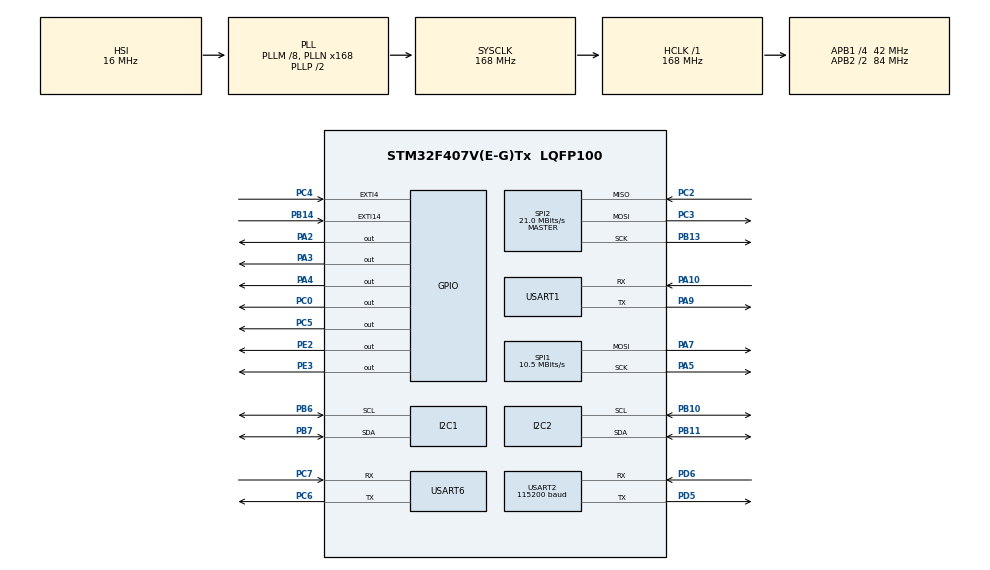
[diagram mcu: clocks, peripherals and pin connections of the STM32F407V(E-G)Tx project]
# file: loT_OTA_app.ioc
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Dma.I2C1_RX.1.Direction=DMA_PERIPH_TO_MEMORY
Dma.I2C1_RX.1.FIFOMode=DMA_FIFOMODE_DISABLE
Dma.I2C1_RX.1.Instance=DMA1_Stream0
Dma.I2C1_RX.1.MemDataAlignment=DMA_MDATAALIGN_BYTE
Dma.I2C1_RX.1.MemInc=DMA_MINC_ENABLE
Dma.I2C1_RX.1.Mode=DMA_NORMAL
Dma.I2C1_RX.1.PeriphDataAlignment=DMA_PDATAALIGN_BYTE
Dma.I2C1_RX.1.PeriphInc=DMA_PINC_DISABLE
Dma.I2C1_RX.1.Priority=DMA_PRIORITY_LOW
Dma.I2C1_TX.2.Direction=DMA_MEMORY_TO_PERIPH
Dma.I2C1_TX.2.FIFOMode=DMA_FIFOMODE_DISABLE
Dma.I2C1_TX.2.Instance=DMA1_Stream7
Dma.I2C1_TX.2.MemDataAlignment=DMA_MDATAALIGN_BYTE
Dma.I2C1_TX.2.MemInc=DMA_MINC_ENABLE
Dma.I2C1_TX.2.Mode=DMA_NORMAL
Dma.I2C1_TX.2.PeriphDataAlignment=DMA_PDATAALIGN_BYTE
Dma.I2C1_TX.2.PeriphInc=DMA_PINC_DISABLE
Dma.I2C1_TX.2.Priority=DMA_PRIORITY_LOW
Dma.Request0=SPI1_TX
Dma.Request1=I2C1_RX
Dma.Request2=I2C1_TX
Dma.Request3=USART6_TX
Dma.Request4=USART2_TX
Dma.Request5=USART2_RX
Dma.SPI1_TX.0.Direction=DMA_MEMORY_TO_PERIPH
Dma.SPI1_TX.0.FIFOMode=DMA_FIFOMODE_DISABLE
Dma.SPI1_TX.0.Instance=DMA2_Stream3
Dma.SPI1_TX.0.MemDataAlignment=DMA_MDATAALIGN_BYTE
Dma.SPI1_TX.0.MemInc=DMA_MINC_ENABLE
Dma.SPI1_TX.0.Mode=DMA_NORMAL
Dma.SPI1_TX.0.PeriphDataAlignment=DMA_PDATAALIGN_BYTE
Dma.SPI1_TX.0.PeriphInc=DMA_PINC_DISABLE
Dma.SPI1_TX.0.Priority=DMA_PRIORITY_LOW
Dma.USART2_RX.5.Direction=DMA_PERIPH_TO_MEMORY
Dma.USART2_RX.5.FIFOMode=DMA_FIFOMODE_DISABLE
Dma.USART2_RX.5.Instance=DMA1_Stream5
Dma.USART2_RX.5.MemDataAlignment=DMA_MDATAALIGN_BYTE
Dma.USART2_RX.5.MemInc=DMA_MINC_ENABLE
Dma.USART2_RX.5.Mode=DMA_CIRCULAR
Dma.USART2_RX.5.PeriphDataAlignment=DMA_PDATAALIGN_BYTE
Dma.USART2_RX.5.PeriphInc=DMA_PINC_DISABLE
Dma.USART2_RX.5.Priority=DMA_PRIORITY_LOW
Dma.USART2_TX.4.Direction=DMA_MEMORY_TO_PERIPH
Dma.USART2_TX.4.FIFOMode=DMA_FIFOMODE_DISABLE
Dma.USART2_TX.4.Instance=DMA1_Stream6
Dma.USART2_TX.4.MemDataAlignment=DMA_MDATAALIGN_BYTE
Dma.USART2_TX.4.MemInc=DMA_MINC_ENABLE
Dma.USART2_TX.4.Mode=DMA_NORMAL
Dma.USART2_TX.4.PeriphDataAlignment=DMA_PDATAALIGN_BYTE
Dma.USART2_TX.4.PeriphInc=DMA_PINC_DISABLE
Dma.USART2_TX.4.Priority=DMA_PRIORITY_LOW
Dma.USART6_TX.3.Direction=DMA_MEMORY_TO_PERIPH
Dma.USART6_TX.3.FIFOMode=DMA_FIFOMODE_DISABLE
Dma.USART6_TX.3.Instance=DMA2_Stream6
Dma.USART6_TX.3.MemDataAlignment=DMA_MDATAALIGN_BYTE
Dma.USART6_TX.3.MemInc=DMA_MINC_ENABLE
Dma.USART6_TX.3.Mode=DMA_NORMAL
Dma.USART6_TX.3.PeriphDataAlignment=DMA_PDATAALIGN_BYTE
Dma.USART6_TX.3.PeriphInc=DMA_PINC_DISABLE
Dma.USART6_TX.3.Priority=DMA_PRIORITY_LOW
FREERTOS.Tasks01=defaultTask,24,128,StartDefaultTask,Default,NULL,Dynamic,NULL,NULL
FREERTOS.configTOTAL_HEAP_SIZE=50720
FREERTOS.configUSE_PREEMPTION=1
I2C2.I2C_Mode=I2C_Standard
IWDG.Prescaler=IWDG_PRESCALER_256
IWDG.Reload=1250
Mcu.Family=STM32F4
Mcu.Name=STM32F407V(E-G)Tx
Mcu.Package=LQFP100
NVIC.DMA1_Stream0_IRQn=true\:5\:0\:false\:false\:true\:true\:false\:true\:true
NVIC.DMA1_Stream5_IRQn=true\:5\:0\:false\:false\:true\:true\:false\:true\:true
NVIC.DMA1_Stream6_IRQn=true\:5\:0\:false\:false\:true\:true\:false\:true\:true
NVIC.DMA1_Stream7_IRQn=true\:5\:0\:false\:false\:true\:false\:false\:true\:true
NVIC.DMA2_Stream3_IRQn=true\:5\:0\:false\:false\:true\:true\:false\:true\:true
NVIC.DMA2_Stream6_IRQn=true\:5\:0\:false\:false\:true\:true\:false\:true\:true
NVIC.EXTI15_10_IRQn=true\:5\:0\:true\:false\:true\:true\:true\:true\:true
NVIC.EXTI4_IRQn=true\:5\:0\:false\:false\:true\:true\:true\:true\:true
NVIC.I2C1_ER_IRQn=true\:5\:0\:false\:false\:true\:true\:true\:true\:true
NVIC.I2C1_EV_IRQn=true\:5\:0\:false\:false\:true\:true\:true\:true\:true
NVIC.PriorityGroup=NVIC_PRIORITYGROUP_4
NVIC.SPI1_IRQn=true\:5\:0\:false\:false\:true\:true\:true\:true\:true
NVIC.SPI2_IRQn=true\:5\:0\:false\:false\:true\:true\:true\:true\:true
NVIC.TIM6_DAC_IRQn=true\:5\:0\:true\:false\:true\:true\:true\:true\:true
NVIC.TIM7_IRQn=true\:0\:0\:false\:false\:true\:false\:true\:true\:true
NVIC.TimeBase=TIM7_IRQn
NVIC.TimeBaseIP=TIM7
NVIC.USART1_IRQn=true\:5\:0\:true\:false\:true\:true\:true\:true\:true
NVIC.USART2_IRQn=true\:5\:0\:false\:false\:true\:true\:true\:true\:true
NVIC.USART6_IRQn=true\:5\:0\:false\:false\:true\:true\:true\:true\:true
PA10.Mode=Asynchronous
PA10.Signal=USART1_RX
PA2.GPIO_ModeDefaultOutputPP=GPIO_MODE_OUTPUT_PP
PA2.PinState=GPIO_PIN_SET
PA2.Signal=GPIO_Output
PA3.GPIO_ModeDefaultOutputPP=GPIO_MODE_OUTPUT_PP
PA3.PinState=GPIO_PIN_SET
PA3.Signal=GPIO_Output
PA4.GPIO_PuPd=GPIO_PULLUP
PA4.PinState=GPIO_PIN_SET
PA4.Signal=GPIO_Output
PA5.Mode=TX_Only_Simplex_Unidirect_Master
PA5.Signal=SPI1_SCK
PA6.Signal=SPI1_MISO
PA7.Mode=TX_Only_Simplex_Unidirect_Master
PA7.Signal=SPI1_MOSI
PA9.Mode=Asynchronous
PA9.Signal=USART1_TX
PB10.GPIO_Pu=GPIO_PULLUP
PB10.Mode=I2C
PB10.Signal=I2C2_SCL
PB11.GPIO_Pu=GPIO_PULLUP
PB11.Mode=I2C
PB11.Signal=I2C2_SDA
PB13.Mode=Full_Duplex_Master
PB13.Signal=SPI2_SCK
PB14.GPIO_ModeDefaultEXTI=GPIO_MODE_IT_FALLING
PB14.GPIO_PuPd=GPIO_PULLUP
PB14.Signal=GPXTI14
PB6.GPIO_Pu=GPIO_PULLUP
PB6.Mode=I2C
PB6.Signal=I2C1_SCL
PB7.GPIO_Pu=GPIO_PULLUP
PB7.Mode=I2C
PB7.Signal=I2C1_SDA
PC0.Signal=GPIO_Output
PC2.Mode=Full_Duplex_Master
PC2.Signal=SPI2_MISO
PC3.Mode=Full_Duplex_Master
PC3.Signal=SPI2_MOSI
PC4.GPIO_ModeDefaultEXTI=GPIO_MODE_IT_FALLING
PC4.GPIO_PuPd=GPIO_PULLUP
PC4.Signal=GPXTI4
PC5.PinState=GPIO_PIN_SET
PC5.Signal=GPIO_Output
PC6.Mode=Asynchronous
PC6.Signal=USART6_TX
PC7.Mode=Asynchronous
PC7.Signal=USART6_RX
PD5.Mode=Asynchronous
PD5.Signal=USART2_TX
PD6.Mode=Asynchronous
PD6.Signal=USART2_RX
PE2.GPIO_ModeDefaultOutputPP=GPIO_MODE_OUTPUT_OD
PE2.GPIO_PuPd=GPIO_PULLUP
PE2.GPIO_Speed=GPIO_SPEED_FREQ_HIGH
PE2.PinState=GPIO_PIN_SET
PE2.Signal=GPIO_Output
PE3.GPIO_ModeDefaultOutputPP=GPIO_MODE_OUTPUT_OD
PE3.GPIO_PuPd=GPIO_PULLUP
PE3.GPIO_Speed=GPIO_SPEED_FREQ_HIGH
PE3.PinState=GPIO_PIN_SET
PE3.Signal=GPIO_Output
ProjectManager.HeapSize=0x200
ProjectManager.StackSize=0x400
ProjectManager.TargetToolchain=MDK-ARM V5
RCC.48MHZClocksFreq_Value=84000000
RCC.AHBFreq_Value=168000000
RCC.APB1CLKDivider=RCC_HCLK_DIV4
RCC.APB1Freq_Value=42000000
RCC.APB1TimFreq_Value=84000000
RCC.APB2CLKDivider=RCC_HCLK_DIV2
RCC.APB2Freq_Value=84000000
RCC.APB2TimFreq_Value=168000000
RCC.CortexFreq_Value=168000000
RCC.HCLKFreq_Value=168000000
RCC.HSE_VALUE=25000000
RCC.HSI_VALUE=16000000
RCC.LSE_VALUE=32768
RCC.PLLM=8
RCC.PLLN=168
RCC.SYSCLKFreq_VALUE=168000000
RCC.SYSCLKSource=RCC_SYSCLKSOURCE_PLLCLK
RCC.VCOOutputFreq_Value=336000000
SPI1.BaudRatePrescaler=SPI_BAUDRATEPRESCALER_8
SPI1.CalculateBaudRate=10.5 MBits/s
SPI1.Direction=SPI_DIRECTION_2LINES
SPI1.Mode=SPI_MODE_MASTER
SPI1.VirtualType=VM_MASTER
SPI2.CalculateBaudRate=21.0 MBits/s
SPI2.Direction=SPI_DIRECTION_2LINES
SPI2.Mode=SPI_MODE_MASTER
SPI2.VirtualType=VM_MASTER
TIM6.AutoReloadPreload=TIM_AUTORELOAD_PRELOAD_ENABLE
TIM6.Prescaler=83
USART1.StopBits=STOPBITS_2
USART1.VirtualMode=VM_ASYNC
USART2.BaudRate=115200
USART2.VirtualMode=VM_ASYNC
USART6.VirtualMode=VM_ASYNC
VP_FREERTOS_VS_CMSIS_V2.Mode=CMSIS_V2
VP_IWDG_VS_IWDG.Mode=IWDG_Activate
VP_SYS_VS_tim7.Mode=TIM7
VP_TIM6_VS_ClockSourceINT.Mode=Enable_Timer
board=custom

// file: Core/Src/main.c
/* USER CODE BEGIN Header */
/**
  ******************************************************************************
  * @file           : main.c
  * @brief          : Main program body
  ******************************************************************************
  * @attention
  *
  * <h2><center>&copy; Copyright (c) 2026 STMicroelectronics.
  * All rights reserved.</center></h2>
  *
  * This software component is licensed by ST under BSD 3-Clause license,
  * the "License"; You may not use this file except in compliance with the
  * License. You may obtain a copy of the License at:
  *                        opensource.org/licenses/BSD-3-Clause
  *
  ******************************************************************************
  */
/* USER CODE END Header */
#include "main.h"
#include "cmsis_os.h"
#include "dma.h"
#include "i2c.h"
#include "iwdg.h"
#include "spi.h"
#include "tim.h"
#include "usart.h"
#include "gpio.h"

/* USER CODE BEGIN Includes */
#include "OLED.h"
#include "ST7789V.h"
#include "Modbus_Rtu.h"
#include "OTA.h"
#include "Broker.h"
#include "SysParam.h"
#include <string.h>
/* USER CODE END Includes */

void SystemClock_Config(void);
void MX_FREERTOS_Init(void);

/* USER CODE BEGIN 0 */
static void Crash_Print(const char *msg, const char *task_name)
{
    HAL_UART_Transmit(&huart6, (uint8_t *)msg, strlen(msg), 1000);
    if (task_name != NULL) {
        HAL_UART_Transmit(&huart6, (uint8_t *)task_name, strlen(task_name), 1000);
    }
    HAL_UART_Transmit(&huart6, (uint8_t *)"\r\n", 2, 1000);
}
void vApplicationStackOverflowHook (TaskHandle_t xTask, signed char *pcTaskName)
{
    __disable_irq();
	Crash_Print("FATAL ERROR: Stack Overflow in task: ", (char *)pcTaskName);
    while(1)
    {

    }
}
/* USER CODE END 0 */

int main(void)
{

  /* USER CODE BEGIN 1 */
	//post_build.bat "$K\ARM\ARMCC\bin\fromelf.exe" "$L@L.bin" "#L"
	SCB->VTOR=APP_EP_ADDRESS;
	__enable_irq();
  /* USER CODE END 1 */

  /* MCU Configuration--------------------------------------------------------*/

  /* Reset of all peripherals, Initializes the Flash interface and the Systick. */
  HAL_Init();

  /* Configure the system clock */
  SystemClock_Config();

  /* USER CODE BEGIN SysInit */

//xPortSysTickHandler
  /* USER CODE END SysInit */

  /* Initialize all configured peripherals */
  MX_GPIO_Init();
  MX_DMA_Init();
  MX_I2C1_Init();
  MX_SPI1_Init();
  MX_I2C2_Init();
  MX_TIM6_Init();
  MX_USART1_UART_Init();
  MX_SPI2_Init();
  MX_USART6_UART_Init();
  MX_USART2_UART_Init();
  //MX_IWDG_Init();
  /* USER CODE BEGIN 2 */
  __HAL_DBGMCU_FREEZE_IWDG();
  Broker_Init();
  OLED_Init(&SoftI2C1_Obj);
  OLED_ShowNum(1,1,2,1);
	LOG_DEBUG("Task start");

  /* USER CODE END 2 */

  /* Init scheduler */
  osKernelInitialize();  /* Call init function for freertos objects (in cmsis_os2.c) */
  MX_FREERTOS_Init();

  /* Start scheduler */
  osKernelStart();

  /* We should never get here as control is now taken by the scheduler */

  /* Infinite loop */
  while (1)
  {

  }
}

void SystemClock_Config(void)
{
  RCC_OscInitTypeDef RCC_OscInitStruct = {0};
  RCC_ClkInitTypeDef RCC_ClkInitStruct = {0};

  /** Configure the main internal regulator output voltage
  */
  __HAL_RCC_PWR_CLK_ENABLE();
  __HAL_PWR_VOLTAGESCALING_CONFIG(PWR_REGULATOR_VOLTAGE_SCALE1);

  /** Initializes the RCC Oscillators according to the specified parameters
  * in the RCC_OscInitTypeDef structure.
  */
  RCC_OscInitStruct.OscillatorType = RCC_OSCILLATORTYPE_HSI|RCC_OSCILLATORTYPE_LSI;
  RCC_OscInitStruct.HSIState = RCC_HSI_ON;
  RCC_OscInitStruct.HSICalibrationValue = RCC_HSICALIBRATION_DEFAULT;
  RCC_OscInitStruct.LSIState = RCC_LSI_ON;
  RCC_OscInitStruct.PLL.PLLState = RCC_PLL_ON;
  RCC_OscInitStruct.PLL.PLLSource = RCC_PLLSOURCE_HSI;
  RCC_OscInitStruct.PLL.PLLM = 8;
  RCC_OscInitStruct.PLL.PLLN = 168;
  RCC_OscInitStruct.PLL.PLLP = RCC_PLLP_DIV2;
  RCC_OscInitStruct.PLL.PLLQ = 4;
  if (HAL_RCC_OscConfig(&RCC_OscInitStruct) != HAL_OK)
  {
    Error_Handler();
  }

  /** Initializes the CPU, AHB and APB buses clocks
  */
  RCC_ClkInitStruct.ClockType = RCC_CLOCKTYPE_HCLK|RCC_CLOCKTYPE_SYSCLK
                              |RCC_CLOCKTYPE_PCLK1|RCC_CLOCKTYPE_PCLK2;
  RCC_ClkInitStruct.SYSCLKSource = RCC_SYSCLKSOURCE_PLLCLK;
  RCC_ClkInitStruct.AHBCLKDivider = RCC_SYSCLK_DIV1;
  RCC_ClkInitStruct.APB1CLKDivider = RCC_HCLK_DIV4;
  RCC_ClkInitStruct.APB2CLKDivider = RCC_HCLK_DIV2;

  if (HAL_RCC_ClockConfig(&RCC_ClkInitStruct, FLASH_LATENCY_5) != HAL_OK)
  {
    Error_Handler();
  }
}

void HAL_TIM_PeriodElapsedCallback(TIM_HandleTypeDef *htim)
{
  if (htim->Instance == TIM7)
  {
    HAL_IncTick();
  }
  /* USER CODE BEGIN Callback 1 */
	Modbus_TIM_PeriodElapsedCallback(htim);
  /* USER CODE END Callback 1 */
}

void Error_Handler(void)
{
  __disable_irq();
  while (1)
  {
  }
}

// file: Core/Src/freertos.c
/* USER CODE BEGIN Header */
/**
  ******************************************************************************
  * File Name          : freertos.c
  * Description        : Code for freertos applications
  ******************************************************************************
  * @attention
  *
  * <h2><center>&copy; Copyright (c) 2026 STMicroelectronics.
  * All rights reserved.</center></h2>
  *
  * This software component is licensed by ST under Ultimate Liberty license
  * SLA0044, the "License"; You may not use this file except in compliance with
  * the License. You may obtain a copy of the License at:
  *                             www.st.com/SLA0044
  *
  ******************************************************************************
  */
/* USER CODE END Header */

#include "FreeRTOS.h"
#include "task.h"
#include "main.h"
#include "cmsis_os.h"

/* USER CODE BEGIN Includes */
#include "MAX30102.h"
#include "GUI.h"
#include "Modbus.h"
#include "AT_Command.h"
#include "MQTT.h"
#include "OTA.h"
#include "Monitor.h"
#include "SysParam.h"
/* USER CODE END Includes */

/* USER CODE BEGIN Variables */
	TaskHandle_t xMAX_TaskHandle_t;
	TaskHandle_t g_ModbusHandle_t;
	TaskHandle_t xGUI_TaskHandler;
	TaskHandle_t xMQTT_TaskHandler;
	TaskHandle_t xOTA_TaskHandler;
	TaskHandle_t xMonitor_TaskHandler;
	TaskHandle_t xStartUp_TaskHandle_t;
/* USER CODE END Variables */
/* Definitions for defaultTask */
osThreadId_t defaultTaskHandle;
const osThreadAttr_t defaultTask_attributes = {
  .name = "defaultTask",
  .stack_size = 128 * 4,
  .priority = (osPriority_t) osPriorityNormal,
};

/* USER CODE BEGIN FunctionPrototypes */
void StartUp_Task(void *param)
{
	lfs_init();
    SysParam_Init();
	LOG_DEBUG("Boot Count: %d", g_SysParam.boot_count);

	xTaskCreate(MAX30102_Task,"MAX30102_Task",512,NULL,11,&xMAX_TaskHandle_t);
	xTaskCreate(MQTT_Task,"MQTT_Task",512,NULL,10,&xMQTT_TaskHandler);
	xTaskCreate(OTA_Task,"OTA_Task",512,NULL,6,&xOTA_TaskHandler);
	//xTaskCreate(Monitor_Task,"Monitor_Task",256,NULL,4,&xMonitor_TaskHandler);
	xTaskCreate(GUI_Task,"GUI_Task",512,NULL,2,&xGUI_TaskHandler);
	//xTaskCreate(Modbus_Task,"modbus",256,NULL,6,&g_ModbusHandle_t);

	LOG_DEBUG("StartUp Finish. Deleting StartUp Task...");
	vTaskDelete(NULL);
}
/* USER CODE END FunctionPrototypes */

void StartDefaultTask(void *argument);

void MX_FREERTOS_Init(void); /* (MISRA C 2004 rule 8.1) */

void MX_FREERTOS_Init(void) {

  /* Create the thread(s) */
  /* creation of defaultTask */
  defaultTaskHandle = osThreadNew(StartDefaultTask, NULL, &defaultTask_attributes);

  /* USER CODE BEGIN RTOS_THREADS */
  /* add threads, ... */

  xTaskCreate(StartUp_Task,"StartUp_Task",1024,NULL,12,&xStartUp_TaskHandle_t);

  /* USER CODE END RTOS_THREADS */

}

void StartDefaultTask(void *argument)
{
  for(;;)
  {
    osDelay(1);
  }
}
